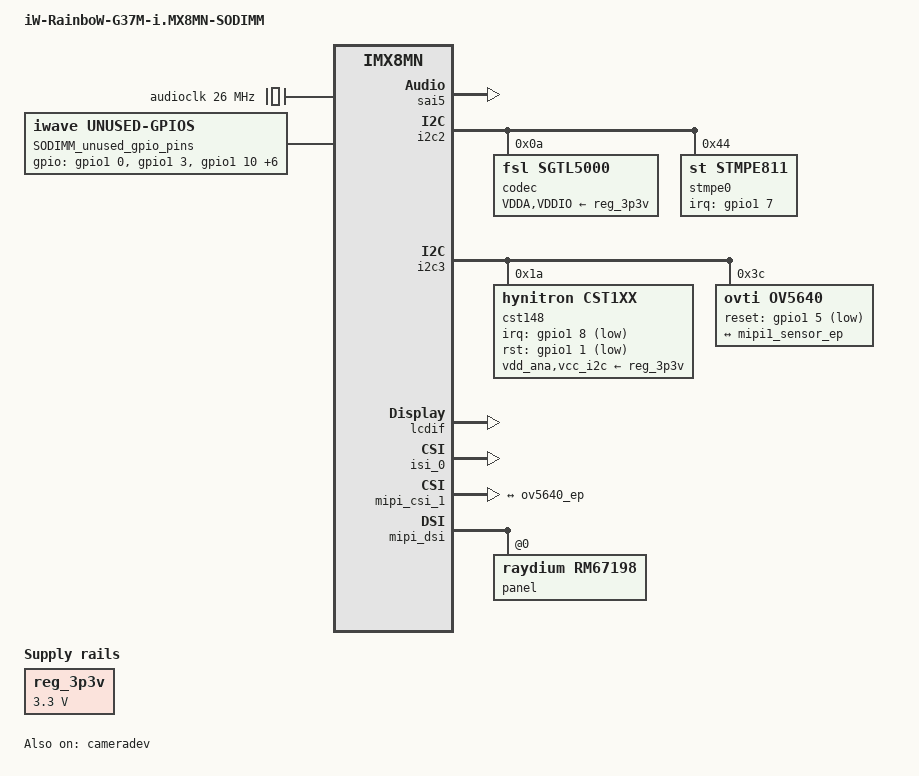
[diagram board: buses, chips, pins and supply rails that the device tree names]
// SPDX-License-Identifier: (GPL-2.0+ OR MIT)
/*
 * Copyright (C) 2022 iWave System Technologies Pvt Ltd.
 *
 * This program is free software; you can redistribute it and/or
 * modify it under the terms of the GNU General Public License
 * as published by the Free Software Foundation; either version 2
 * of the License, or (at your option) any later version.
 *
 * This program is distributed in the hope that it will be useful,
 * but WITHOUT ANY WARRANTY; without even the implied warranty of
 * MERCHANTABILITY or FITNESS FOR A PARTICULAR PURPOSE.  See the
 * GNU General Public License for more details.
 */

/dts-v1/;

#include "imx8mn-iwg37m.dtsi"

/ {
	model = "iW-RainboW-G37M-i.MX8MN-SODIMM";
	compatible = "fsl,imx8mn-iwg37m", "fsl,imx8mn";

	audioclk: ext26Mz { /* SAI5: Clock Configuration */
		compatible = "fixed-clock";
		clock-frequency = <26000000>;
		#clock-cells = <0>;
	};

	SODIMM_unused_gpio_pins: edge_unused_pins { /* GPIO: configuring pins as unused GPIOs */
                compatible = "iwave,unused-gpios";
                pinctrl-names = "default";
                pinctrl-0 = <&pinctrl_unused_gpio>;
                status = "okay";
        };

	regulators {
		compatible = "simple-bus";
		#address-cells = <1>;
		#size-cells = <0>;

		reg_3p3v: 3p3v { /* Fixed Regulator: common 3.3V Fixed regulator */
			compatible = "regulator-fixed";
			regulator-name = "3P3V";
			regulator-min-microvolt = <3300000>;
			regulator-max-microvolt = <3300000>;
			regulator-always-on;
		};
	};

	sound { /* SAI5: SGTL5000: Audio Codec support */
		compatible = "simple-audio-card";
                simple-audio-card,name = "sgtl5000-audio";
                simple-audio-card,format = "i2s";
                simple-audio-card,frame-master = <&codecdai>;
                simple-audio-card,bitclock-master = <&codecdai>;
                simple-audio-card,widgets =
                        "Microphone", "Microphone Jack",
                        "Headphone", "Headphone Jack",
                        "Speaker", "Speaker Ext",
                        "Line", "Line In Jack";
                simple-audio-card,routing =
                        "MIC_IN", "Microphone Jack",
                        "Microphone Jack", "Mic Bias",
                        "LINE_IN", "Line In Jack",
                        "Headphone Jack", "HP_OUT",
                        "Speaker Ext", "LINE_OUT";

		simple-audio-card,cpu {
                       sound-dai = <&sai5>;
                };

                codecdai:simple-audio-card,codec {
                       sound-dai = <&codec>;
                       system-clock-frequency = <26000000>;
                };
	};
};

&cameradev { /* Multimedia: Camera device */
	status = "okay";
};

&sai5 { /* SAI5: Serial Audio Interface for Audio Codec */
	#sound-dai-cells = <0>;
	pinctrl-names = "default";
	pinctrl-0 = <&pinctrl_sai5>;
	assigned-clocks = <&clk IMX8MN_CLK_SAI5>;
	assigned-clock-parents = <&clk IMX8MN_AUDIO_PLL1_OUT>;
	assigned-clock-rates = <49152000>;
	clocks = <&clk IMX8MN_CLK_SAI5_IPG>, <&clk IMX8MN_CLK_DUMMY>,
		<&clk IMX8MN_CLK_SAI5_ROOT>, <&clk IMX8MN_CLK_DUMMY>,
		<&clk IMX8MN_CLK_DUMMY>, <&clk IMX8MN_AUDIO_PLL1_OUT>,
		<&clk IMX8MN_AUDIO_PLL2_OUT>;
	clock-names = "bus", "mclk0", "mclk1", "mclk2", "mclk3", "pll8k", "pll11k";
	fsl,sai-multi-lane;
	dmas = <&sdma2 8 25 0>, <&sdma2 9 25 0>;
	status = "okay";
};

&i2c2 { /* I2C: I2C2 Bus */

	codec: sgtl5000@a { /* Audio: SGTL5000 Audio Codec */
		compatible = "fsl,sgtl5000";
		reg = <0x0a>;
		#sound-dai-cells = <0>;
		clocks = <&audioclk 0>;
		VDDA-supply = <&reg_3p3v>;
		VDDIO-supply = <&reg_3p3v>;
		status = "okay";
	};

	stmpe0: stmpe811@44 { /* STMPE811: Carrier Board GPIO Expander */
                compatible = "st,stmpe811";
		reg = <0x44>;
		pinctrl-names = "default";
		pinctrl-0 = <&pinctrl_stmpe>;
		irq-gpio = <&gpio1 7 IRQ_TYPE_EDGE_RISING>;
	
		stmpe_gpio0: stmpe_gpio {
			compatible = "st,stmpe-gpio";
			#gpio-cells = <2>;
			gpio-controller;
		};
	};
};

&i2c3 { /* I2C: I2C3 Bus */

	cst148@1a { /* Touch: Hynitron Touch panel (1080p display) */
		compatible = "hynitron,cst1xx";
		reg = <0x1a>; 
		vdd_ana-supply = <&reg_3p3v>;
		vcc_i2c-supply = <&reg_3p3v>;
		hynitron,panel-coords = <0 1080 0 1920>;
		hynitron,display-coords = <0 1080 0 1920>;
		pinctrl-names = "default";
		pinctrl-0 = <&pinctrl_ts_active>;
		hynitron,irq-gpio = <&gpio1 8 GPIO_ACTIVE_LOW>;
		hynitron,rst-gpio = <&gpio1 1 GPIO_ACTIVE_LOW>;
		status = "okay";
	};

	ov5640: ov5640_mipi@3c { /* MIPI CSI: OV5640 Camera */
		compatible = "ovti,ov5640";
		reg = <0x3c>;
		pinctrl-names = "default";
		pinctrl-0 = <&pinctrl_csi_rst>;
		clocks = <&clk IMX8MN_CLK_CLKO1>;
		clock-names = "xclk";
		assigned-clocks = <&clk IMX8MN_CLK_CLKO1>;
		assigned-clock-parents = <&clk IMX8MN_CLK_24M>;
		assigned-clock-rates = <24000000>;
		csi_id = <0>;
		reset-gpios = <&gpio1 5 GPIO_ACTIVE_LOW>;
		mclk = <24000000>;
		mclk_source = <0>;
		mipi_csi;
		status = "okay";
		port {
			ov5640_ep: endpoint {
				remote-endpoint = <&mipi1_sensor_ep>;
				data-lanes = <1 2>;
				clocks-lanes = <0>;
			};
		};
	};
};

&lcdif {
	status = "okay";
};

&isi_0 { /* Multimedia: Image Sensing Interface */
	status = "okay";
	cap_device {
		status = "okay";
	};
};

&mipi_csi_1 { /* MIPI CSI: OV5640 MIPI Camera */
	#address-cells = <1>;
	#size-cells = <0>;
	status = "okay";
	port@0 {
		reg = <0>;
		mipi1_sensor_ep: endpoint {
			remote-endpoint = <&ov5640_ep>;
			data-lanes = <2>;
			csis-hs-settle = <13>;
			csis-clk-settle = <2>;
			csis-wclk;
		};
	};
};

&mipi_dsi { /* MIPI DSI: 1080p MIPI Display */
	status = "okay";

	panel@0 {
		compatible = "raydium,rm67198";
		reg = <0>;
		dsi-lanes = <4>;
		video-mode = <1>;/* 0: burst mode
				  * 1: non-burst mode with sync event
				  * 2: non-burst mode with sync pulse
				  */
		panel-width-mm = <68>;
		panel-height-mm = <122>;
		status = "okay";
	};
};

&iomuxc {

	imx8mn-iwg37m {

		pinctrl-names = "default";
	        pinctrl-0 = <&pinctrl_expansion>;

		pinctrl_ts_active: tsgrp { /* MIPI DSI: Touch: IOMUX Pin Configuration */
			fsl,pins = <
				MX8MN_IOMUXC_GPIO1_IO01_GPIO1_IO1		0x41 /* Touch Interface Reset GPIO */
				MX8MN_IOMUXC_GPIO1_IO08_GPIO1_IO8		0x41  /* Touch Interface Interrupt GPIO */
			>;
		};

		pinctrl_stmpe: stmpeirq { /* STMPE: IOMUX Pin Configuration */
                        fsl,pins = <
				MX8MN_IOMUXC_GPIO1_IO07_GPIO1_IO7		0x41 /*STMPE Interrupt GPIO*/
                        >;
                };

		pinctrl_sai5: sai5grp { /* SAI5: IOMUX Pin Configuration */
			fsl,pins = <
				MX8MN_IOMUXC_SAI5_MCLK_SAI5_MCLK		0xd6
				MX8MN_IOMUXC_SAI5_RXD2_SAI5_TX_BCLK		0xd6
				MX8MN_IOMUXC_SAI5_RXD1_SAI5_TX_SYNC		0xd6
				MX8MN_IOMUXC_SAI5_RXD3_SAI5_TX_DATA0		0xd6
				MX8MN_IOMUXC_SAI5_RXD0_SAI5_RX_DATA0    	0xd6
			>;
		};

		pinctrl_csi_rst: csi_rst_grp { /* MIPI CSI: OV5640 Camera IOMUX Pin Configuration */
			fsl,pins = <
				MX8MN_IOMUXC_GPIO1_IO05_GPIO1_IO5		0x19 /* MIPI OV5640 Camera Reset GPIO */
			>;
		};

		pinctrl_expansion: expansion_pinsgrp { /* Expansion connector IOMUX configuration */
                        fsl,pins = <
				MX8MN_IOMUXC_GPIO1_IO06_GPIO1_IO6		0x41 /* SODIMM Edge Pin 71, Expansion J12 Pin 16 */
				MX8MN_IOMUXC_SAI5_RXFS_GPIO3_IO19		0x41 /* SODIMM Edge Pin 92, Expansion J16 Pin 11 */
				MX8MN_IOMUXC_SAI5_RXC_GPIO3_IO20		0x41 /* SODIMM Edge Pin 91, Expansion J16 Pin 10 */
				MX8MN_IOMUXC_SPDIF_RX_GPIO5_IO4			0x41 /* SODIMM Edge Pin 177, Expansion J12 Pin 7 */
                        >;
                };

		pinctrl_unused_gpio: unused_pinsgrp { /* Unused GPIO pins IOMUX Configuration */
			fsl,pins = <
                                /* GPIO: GPIO IOMUX Pin coming under SOM */
                                MX8MN_IOMUXC_GPIO1_IO00_GPIO1_IO0               0x41
				MX8MN_IOMUXC_GPIO1_IO03_GPIO1_IO3		0x41
				/* GPIO: PCIe IOMUX Pin Configuration */
                                MX8MN_IOMUXC_GPIO1_IO10_GPIO1_IO10              0x41 /* SODIMM Edge Pin 134, Expansion J20 Pin 1 */ 
                                MX8MN_IOMUXC_GPIO1_IO11_GPIO1_IO11              0x41 /* SODIMM Edge Pin 133, Expansion J20 Pin 20 */
				/* GPIO: USB2 IOMUX Pin Configuration */
                                MX8MN_IOMUXC_GPIO1_IO14_GPIO1_IO14              0x41 /* SODIMM Edge Pin 140, Expansion U19 Pin 1 */
                                MX8MN_IOMUXC_GPIO1_IO15_GPIO1_IO15              0x41 /* SODIMM Edge Pin 39, Expansion U19 Pin 2 */
				MX8MN_IOMUXC_SD1_STROBE_GPIO2_IO11              0x41	
				/* GPIO: SPDIF IOMUX Pin Configuration */
				MX8MN_IOMUXC_SPDIF_TX_GPIO5_IO3			0x41 /* SODIMM Edge Pin 178, Expansion U21 Pin 1 */
				MX8MN_IOMUXC_SPDIF_EXT_CLK_GPIO5_IO5		0x41 /* SODIMM Edge Pin 176, Expansion U21 Pin 4 */
			>;
		};
	};
};

&SODIMM_unused_gpio_pins { /* GPIO: iWave Unused GPIO pins */
                gpios = <&gpio1 0 0>,
			<&gpio1 3 0>,
                        <&gpio1 10 0>,
                        <&gpio1 11 0>,
                        <&gpio1 14 0>,
                        <&gpio1 15 0>,
                        <&gpio2 11 0>,
                        <&gpio5 3 0>,
                        <&gpio5 5 0>;
};
